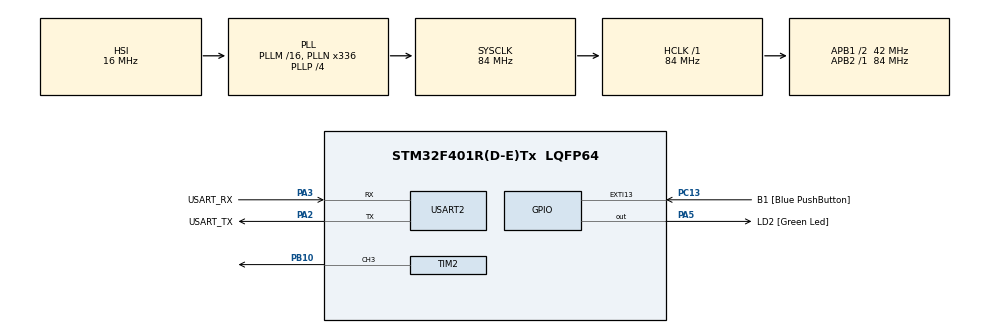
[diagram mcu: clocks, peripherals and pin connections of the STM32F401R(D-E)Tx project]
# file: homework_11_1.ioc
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Mcu.Family=STM32F4
Mcu.Name=STM32F401R(D-E)Tx
Mcu.Package=LQFP64
NVIC.PriorityGroup=NVIC_PRIORITYGROUP_0
NVIC.TIM1_UP_TIM10_IRQn=true\:0\:0\:false\:false\:true\:true\:true\:true
PA13.GPIO_Label=TMS
PA13.Mode=Serial_Wire
PA13.Signal=SYS_JTMS-SWDIO
PA14.GPIO_Label=TCK
PA14.Mode=Serial_Wire
PA14.Signal=SYS_JTCK-SWCLK
PA2.GPIO_Label=USART_TX
PA2.GPIO_Mode=GPIO_MODE_AF_PP
PA2.GPIO_PuPd=GPIO_NOPULL
PA2.GPIO_Speed=GPIO_SPEED_FREQ_LOW
PA2.Mode=Asynchronous
PA2.Signal=USART2_TX
PA3.GPIO_Label=USART_RX
PA3.GPIO_Mode=GPIO_MODE_AF_PP
PA3.GPIO_PuPd=GPIO_NOPULL
PA3.GPIO_Speed=GPIO_SPEED_FREQ_LOW
PA3.Mode=Asynchronous
PA3.Signal=USART2_RX
PA5.GPIO_Label=LD2 [Green Led]
PA5.GPIO_Mode=GPIO_MODE_OUTPUT_PP
PA5.GPIO_PuPd=GPIO_NOPULL
PA5.GPIO_Speed=GPIO_SPEED_FREQ_LOW
PA5.Signal=GPIO_Output
PB10.Signal=S_TIM2_CH3
PB3.GPIO_Label=SWO
PB3.Signal=SYS_JTDO-SWO
PC13-ANTI_TAMP.GPIO_Label=B1 [Blue PushButton]
PC13-ANTI_TAMP.GPIO_ModeDefaultEXTI=GPIO_MODE_IT_FALLING
PC13-ANTI_TAMP.GPIO_PuPd=GPIO_NOPULL
PC13-ANTI_TAMP.Signal=GPXTI13
PC14-OSC32_IN.Mode=LSE-External-Oscillator
PC14-OSC32_IN.Signal=RCC_OSC32_IN
PC15-OSC32_OUT.Mode=LSE-External-Oscillator
PC15-OSC32_OUT.Signal=RCC_OSC32_OUT
PH0\ -\ OSC_IN.Mode=HSE-External-Clock-Source
PH0\ -\ OSC_IN.Signal=RCC_OSC_IN
PH1\ -\ OSC_OUT.Mode=HSE-External-Clock-Source
PH1\ -\ OSC_OUT.Signal=RCC_OSC_OUT
ProjectManager.HeapSize=0x200
ProjectManager.StackSize=0x400
ProjectManager.TargetToolchain=STM32CubeIDE
RCC.48MHZClocksFreq_Value=48000000
RCC.AHBFreq_Value=84000000
RCC.APB1CLKDivider=RCC_HCLK_DIV2
RCC.APB1Freq_Value=42000000
RCC.APB1TimFreq_Value=84000000
RCC.APB2Freq_Value=84000000
RCC.APB2TimFreq_Value=84000000
RCC.CortexFreq_Value=84000000
RCC.HCLKFreq_Value=84000000
RCC.HSE_VALUE=8000000
RCC.HSI_VALUE=16000000
RCC.PLLN=336
RCC.PLLP=RCC_PLLP_DIV4
RCC.PLLQ=7
RCC.SYSCLKFreq_VALUE=84000000
RCC.SYSCLKSource=RCC_SYSCLKSOURCE_PLLCLK
RCC.VCOOutputFreq_Value=336000000
SH.S_TIM2_CH3.0=TIM2_CH3,PWM Generation3 CH3
TIM10.Period=35000-1
TIM10.Prescaler=0
TIM2.Channel-PWM\ Generation3\ CH3=TIM_CHANNEL_3
TIM2.Period=2210-1
TIM2.Pulse-PWM\ Generation3\ CH3=1105-1
USART2.VirtualMode=VM_ASYNC
VP_TIM10_VS_ClockSourceINT.Mode=Enable_Timer
board=NUCLEO-F401RE

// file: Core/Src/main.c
/* USER CODE BEGIN Header */
/**
  ******************************************************************************
  * @file           : main.c
  * @brief          : Main program body
  ******************************************************************************
  * @attention
  *
  * Copyright (c) 2022 STMicroelectronics.
  * All rights reserved.
  *
  * This software is licensed under terms that can be found in the LICENSE file
  * in the root directory of this software component.
  * If no LICENSE file comes with this software, it is provided AS-IS.
  *
  ******************************************************************************
  */
/* USER CODE END Header */
#include "main.h"

/* USER CODE BEGIN PTD */
typedef enum {true, false} bool;
/* USER CODE END PTD */

TIM_HandleTypeDef htim2;
TIM_HandleTypeDef htim10;

UART_HandleTypeDef huart2;

/* USER CODE BEGIN PV */
bool STARTUP_OVERFLOW = true;
bool INFRARED_BUSY = false;
int complete_byte[9];
int i=0;
int k=0;
int string_length;
/* USER CODE END PV */

void SystemClock_Config(void);
static void MX_GPIO_Init(void);
static void MX_USART2_UART_Init(void);
static void MX_TIM2_Init(void);
static void MX_TIM10_Init(void);

/* USER CODE BEGIN 0 */
void HAL_TIM_PeriodElapsedCallback(TIM_HandleTypeDef* calling_timer){
  char output_alert[64];
  if(calling_timer==&htim10){
    if(STARTUP_OVERFLOW==true){
      STARTUP_OVERFLOW=false;
    }
    else{

      if(i<=8){

        if(complete_byte[i]==0){
          HAL_TIM_PWM_Start(&htim2, TIM_CHANNEL_3);
        }
        else if(complete_byte[i]==1){
          HAL_TIM_PWM_Stop(&htim2, TIM_CHANNEL_3);
        }

        i++;
      }

      else{     //all bits have been transmitted
        i=0;
        HAL_TIM_Base_Stop_IT(&htim10);
        //__HAL_TIM_SET_COUNTER(&htim10, 0);    //for safety, if necessary
        snprintf(output_alert, sizeof(output_alert), "Byte transmission complete\r\n");
        HAL_UART_Transmit(&huart2, output_alert, strlen(output_alert), 200);
        INFRARED_BUSY=false;
      }

    }
  }
}

void infrared_UART(uint8_t byte_to_send){
  if(INFRARED_BUSY==false){
    INFRARED_BUSY=true;

    for(int j=0; j<8; j++){                                           //converting uint8_t into array of single bits
      complete_byte[7-j]=((byte_to_send)&(0b10000000>>j))>>(7-j);     //NOTE: we must invert the bit sequence
    }                                                                 //because it will be received inverted again

    complete_byte[8]=1;                            //appending stop bit
    HAL_TIM_PWM_Start(&htim2, TIM_CHANNEL_3);      //transmitting start bit
    HAL_TIM_Base_Start_IT(&htim10);
  }
  else{
    //do nothing, ignore request
  }
}
/* USER CODE END 0 */

int main(void)
{
  /* USER CODE BEGIN 1 */
  char string_to_send[64];
  /* USER CODE END 1 */

  /* MCU Configuration--------------------------------------------------------*/

  /* Reset of all peripherals, Initializes the Flash interface and the Systick. */
  HAL_Init();

  /* Configure the system clock */
  SystemClock_Config();

  /* Initialize all configured peripherals */
  MX_GPIO_Init();
  MX_USART2_UART_Init();
  MX_TIM2_Init();
  MX_TIM10_Init();
  /* USER CODE BEGIN 2 */
  snprintf(string_to_send, sizeof(string_to_send), "LOL\r\n");      // 01001100 = L
  string_length=strlen(string_to_send);                             // 01001111 = O
                                                                    // 01001100 = L
                                                                    // 00001101 = \r
                                                                    // 00001010 = \n
                                                                    // 00000000 = \0
  /* USER CODE END 2 */                                     // TX example of 'L': 0 00110010 1
                                                            //                    s   char   s
  /* Infinite loop */
  /* USER CODE BEGIN WHILE */
  while (1)
  {
    if(k<=string_length && INFRARED_BUSY==false){
      infrared_UART((uint8_t)(string_to_send[k]));
      k++;
    }
    /* USER CODE END WHILE */

  }
}

void SystemClock_Config(void)
{
  RCC_OscInitTypeDef RCC_OscInitStruct = {0};
  RCC_ClkInitTypeDef RCC_ClkInitStruct = {0};

  /** Configure the main internal regulator output voltage
  */
  __HAL_RCC_PWR_CLK_ENABLE();
  __HAL_PWR_VOLTAGESCALING_CONFIG(PWR_REGULATOR_VOLTAGE_SCALE2);

  /** Initializes the RCC Oscillators according to the specified parameters
  * in the RCC_OscInitTypeDef structure.
  */
  RCC_OscInitStruct.OscillatorType = RCC_OSCILLATORTYPE_HSI;
  RCC_OscInitStruct.HSIState = RCC_HSI_ON;
  RCC_OscInitStruct.HSICalibrationValue = RCC_HSICALIBRATION_DEFAULT;
  RCC_OscInitStruct.PLL.PLLState = RCC_PLL_ON;
  RCC_OscInitStruct.PLL.PLLSource = RCC_PLLSOURCE_HSI;
  RCC_OscInitStruct.PLL.PLLM = 16;
  RCC_OscInitStruct.PLL.PLLN = 336;
  RCC_OscInitStruct.PLL.PLLP = RCC_PLLP_DIV4;
  RCC_OscInitStruct.PLL.PLLQ = 7;
  if (HAL_RCC_OscConfig(&RCC_OscInitStruct) != HAL_OK)
  {
    Error_Handler();
  }

  /** Initializes the CPU, AHB and APB buses clocks
  */
  RCC_ClkInitStruct.ClockType = RCC_CLOCKTYPE_HCLK|RCC_CLOCKTYPE_SYSCLK
                              |RCC_CLOCKTYPE_PCLK1|RCC_CLOCKTYPE_PCLK2;
  RCC_ClkInitStruct.SYSCLKSource = RCC_SYSCLKSOURCE_PLLCLK;
  RCC_ClkInitStruct.AHBCLKDivider = RCC_SYSCLK_DIV1;
  RCC_ClkInitStruct.APB1CLKDivider = RCC_HCLK_DIV2;
  RCC_ClkInitStruct.APB2CLKDivider = RCC_HCLK_DIV1;

  if (HAL_RCC_ClockConfig(&RCC_ClkInitStruct, FLASH_LATENCY_2) != HAL_OK)
  {
    Error_Handler();
  }
}

static void MX_TIM2_Init(void)
{

  TIM_MasterConfigTypeDef sMasterConfig = {0};
  TIM_OC_InitTypeDef sConfigOC = {0};

  htim2.Instance = TIM2;
  htim2.Init.Prescaler = 0;
  htim2.Init.CounterMode = TIM_COUNTERMODE_UP;
  htim2.Init.Period = 2210-1;
  htim2.Init.ClockDivision = TIM_CLOCKDIVISION_DIV1;
  htim2.Init.AutoReloadPreload = TIM_AUTORELOAD_PRELOAD_DISABLE;
  if (HAL_TIM_PWM_Init(&htim2) != HAL_OK)
  {
    Error_Handler();
  }
  sMasterConfig.MasterOutputTrigger = TIM_TRGO_RESET;
  sMasterConfig.MasterSlaveMode = TIM_MASTERSLAVEMODE_DISABLE;
  if (HAL_TIMEx_MasterConfigSynchronization(&htim2, &sMasterConfig) != HAL_OK)
  {
    Error_Handler();
  }
  sConfigOC.OCMode = TIM_OCMODE_PWM1;
  sConfigOC.Pulse = 1105-1;
  sConfigOC.OCPolarity = TIM_OCPOLARITY_HIGH;
  sConfigOC.OCFastMode = TIM_OCFAST_DISABLE;
  if (HAL_TIM_PWM_ConfigChannel(&htim2, &sConfigOC, TIM_CHANNEL_3) != HAL_OK)
  {
    Error_Handler();
  }
  HAL_TIM_MspPostInit(&htim2);

}

static void MX_TIM10_Init(void)
{

  htim10.Instance = TIM10;
  htim10.Init.Prescaler = 0;
  htim10.Init.CounterMode = TIM_COUNTERMODE_UP;
  htim10.Init.Period = 35000-1;
  htim10.Init.ClockDivision = TIM_CLOCKDIVISION_DIV1;
  htim10.Init.AutoReloadPreload = TIM_AUTORELOAD_PRELOAD_DISABLE;
  if (HAL_TIM_Base_Init(&htim10) != HAL_OK)
  {
    Error_Handler();
  }

}

static void MX_USART2_UART_Init(void)
{

  huart2.Instance = USART2;
  huart2.Init.BaudRate = 115200;
  huart2.Init.WordLength = UART_WORDLENGTH_8B;
  huart2.Init.StopBits = UART_STOPBITS_1;
  huart2.Init.Parity = UART_PARITY_NONE;
  huart2.Init.Mode = UART_MODE_TX_RX;
  huart2.Init.HwFlowCtl = UART_HWCONTROL_NONE;
  huart2.Init.OverSampling = UART_OVERSAMPLING_16;
  if (HAL_UART_Init(&huart2) != HAL_OK)
  {
    Error_Handler();
  }

}

static void MX_GPIO_Init(void)
{
  GPIO_InitTypeDef GPIO_InitStruct = {0};

  /* GPIO Ports Clock Enable */
  __HAL_RCC_GPIOC_CLK_ENABLE();
  __HAL_RCC_GPIOH_CLK_ENABLE();
  __HAL_RCC_GPIOA_CLK_ENABLE();
  __HAL_RCC_GPIOB_CLK_ENABLE();

  /*Configure GPIO pin Output Level */
  HAL_GPIO_WritePin(LD2_GPIO_Port, LD2_Pin, GPIO_PIN_RESET);

  /*Configure GPIO pin : B1_Pin */
  GPIO_InitStruct.Pin = B1_Pin;
  GPIO_InitStruct.Mode = GPIO_MODE_IT_FALLING;
  GPIO_InitStruct.Pull = GPIO_NOPULL;
  HAL_GPIO_Init(B1_GPIO_Port, &GPIO_InitStruct);

  /*Configure GPIO pin : LD2_Pin */
  GPIO_InitStruct.Pin = LD2_Pin;
  GPIO_InitStruct.Mode = GPIO_MODE_OUTPUT_PP;
  GPIO_InitStruct.Pull = GPIO_NOPULL;
  GPIO_InitStruct.Speed = GPIO_SPEED_FREQ_LOW;
  HAL_GPIO_Init(LD2_GPIO_Port, &GPIO_InitStruct);

}

void Error_Handler(void)
{
  __disable_irq();
  while (1)
  {
  }
}
